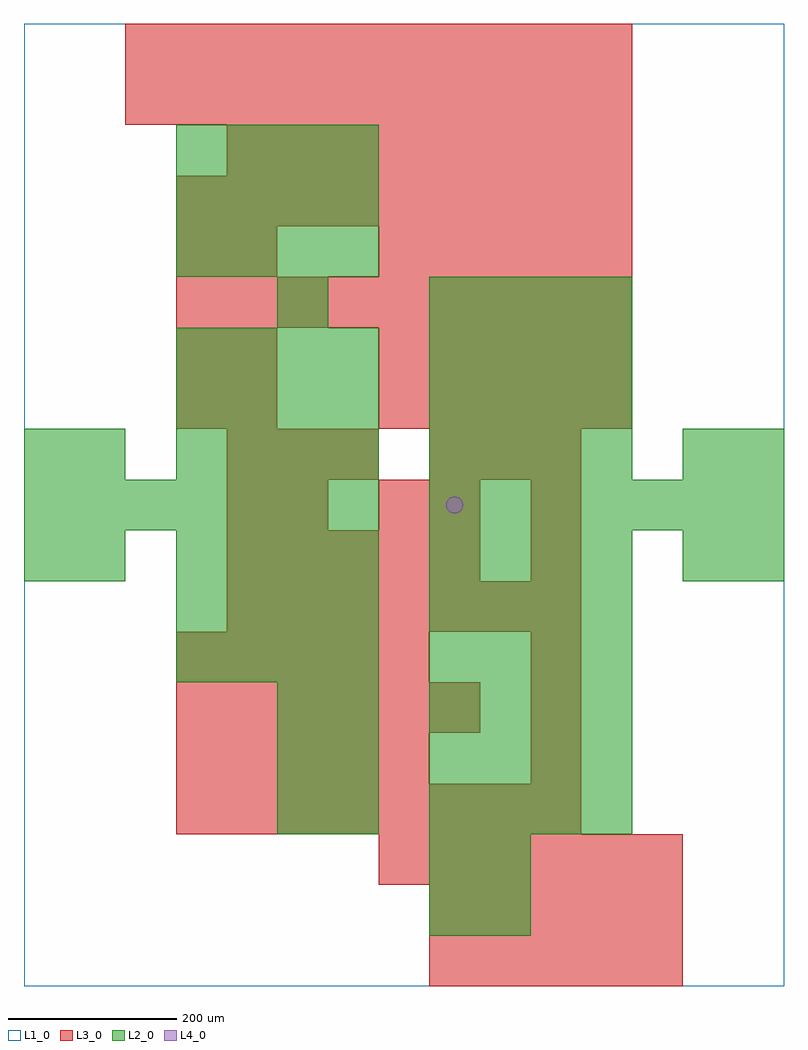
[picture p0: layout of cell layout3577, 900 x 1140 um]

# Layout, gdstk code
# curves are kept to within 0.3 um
import gdstk
lib = gdstk.Library(unit=1e-6, precision=1e-09)
def R(c, l, rs):  # rectangles x0, y0, x1, y1
    for r in rs: c.add(gdstk.rectangle(r[:2], r[2:], *l))
def A(c, l, x, y, w, h, nx, ny, dx, dy):  # array of equal rectangles
    R(c, l, [(x+i*dx, y+j*dy, x+i*dx+w, y+j*dy+h) for i in range(nx) for j in range(ny)])
def P(c, l, *ps):  # polygons
    for p in ps: c.add(gdstk.Polygon(p, *l))
L1_0 = (1, 0)
L2_0 = (2, 0)
L3_0 = (3, 0)
L4_0 = (4, 0)

layout3577 = lib.new_cell('layout3577')
R(layout3577, L1_0, [(0,0,900,1140)])
A(layout3577, L2_0, 300, 180, 60, 60, 1, 3, 0, 60)
A(layout3577, L2_0, 360, 180, 60, 60, 1, 3, 0, 60)
A(layout3577, L2_0, 480, 180, 60, 60, 4, 6, 60, 60)
A(layout3577, L2_0, 180, 360, 60, 60, 4, 3, 60, 60)
A(layout3577, L2_0, 0, 540, 60, 60, 7, 1, 60, 0)
A(layout3577, L2_0, 480, 540, 60, 60, 7, 1, 60, 0)
A(layout3577, L2_0, 180, 600, 60, 60, 4, 3, 60, 60)
A(layout3577, L2_0, 480, 600, 60, 60, 4, 4, 60, 60)
A(layout3577, L2_0, 180, 840, 60, 60, 4, 3, 60, 60)
R(layout3577, L2_0, [(480,60,540,120), (540,60,600,120), (480,120,540,180), (540,120,600,180), (0,480,60,540), (60,480,120,540), (780,480,840,540), (840,480,900,540), (0,600,60,660), (60,600,120,660), (780,600,840,660), (840,600,900,660), (300,780,360,840)])
A(layout3577, L3_0, 480, 0, 60, 60, 5, 2, 60, 60)
A(layout3577, L3_0, 420, 120, 60, 60, 6, 1, 60, 0)
A(layout3577, L3_0, 180, 180, 60, 60, 8, 1, 60, 0)
A(layout3577, L3_0, 180, 240, 60, 60, 5, 2, 60, 120)
A(layout3577, L3_0, 600, 240, 60, 60, 1, 3, 0, 60)
A(layout3577, L3_0, 180, 300, 60, 60, 6, 1, 60, 0)
A(layout3577, L3_0, 240, 420, 60, 60, 7, 1, 60, 0)
A(layout3577, L3_0, 240, 480, 60, 60, 5, 1, 60, 0)
A(layout3577, L3_0, 240, 600, 60, 60, 3, 1, 60, 0)
A(layout3577, L3_0, 480, 600, 60, 60, 3, 1, 60, 0)
A(layout3577, L3_0, 420, 660, 60, 60, 5, 2, 60, 60)
A(layout3577, L3_0, 180, 780, 60, 60, 9, 2, 60, 120)
A(layout3577, L3_0, 420, 840, 60, 60, 5, 1, 60, 0)
A(layout3577, L3_0, 240, 960, 60, 60, 8, 1, 60, 0)
A(layout3577, L3_0, 120, 1020, 60, 60, 10, 2, 60, 60)
R(layout3577, L3_0, [(600,480,660,540), (240,540,300,600), (300,540,360,600), (420,540,480,600), (480,540,540,600), (600,540,660,600), (180,660,240,720), (240,660,300,720), (180,720,240,780), (240,720,300,780), (180,840,240,900), (240,840,300,900)])
P(layout3577, L4_0, [(520,570),(519.239,573.827),(517.071,577.071),(513.827,579.239),(510,580),(506.173,579.239),(502.929,577.071),(500.761,573.827),(500,570),(500.761,566.173),(502.929,562.929),(506.173,560.761),(510,560),(513.827,560.761),(517.071,562.929),(519.239,566.173)])

lib.write_gds('layout3577.gds')
